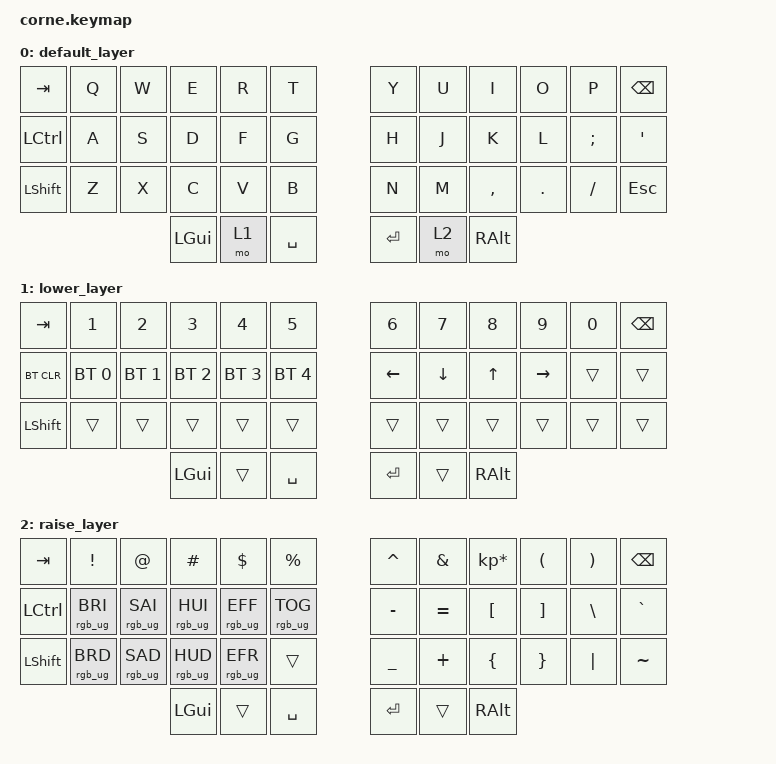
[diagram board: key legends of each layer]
/*
 * Copyright (c) 2020 The ZMK Contributors
 * bump
 * SPDX-License-Identifier: MIT
 */

#include <behaviors.dtsi>
#include <dt-bindings/zmk/keys.h>
#include <dt-bindings/zmk/bt.h>
#include <dt-bindings/zmk/rgb.h>

#include <dt-bindings/led/led.h>

&spi1 {
	compatible = "nordic,nrf-spim";
	/* Cannot be used together with i2c0. */
	status = "okay";
	mosi-pin = <6>;
	// Unused pins, needed for SPI definition, but not used by the ws2812 driver itself.
	sck-pin = <5>;
	miso-pin = <7>;

	led_strip: ws2812@0 {
		compatible = "worldsemi,ws2812-spi";
		label = "SK6812mini";

		/* SPI */
		reg = <0>; /* ignored, but necessary for SPI bindings */
		spi-max-frequency = <4000000>;

		/* WS2812 */
		chain-length = <27>; /* There are per-key RGB, but enable all */
		spi-one-frame = <0x70>;
		spi-zero-frame = <0x40>;

		color-mapping = <LED_COLOR_ID_GREEN LED_COLOR_ID_RED LED_COLOR_ID_BLUE>;
	};
};

/ {
	chosen {
		zmk,underglow = &led_strip;
	};
};

/ {
        keymap {
                compatible = "zmk,keymap";

                default_layer {
// -----------------------------------------------------------------------------------------
// |  TAB |  Q  |  W  |  E  |  R  |  T  |   |  Y  |  U   |  I  |  O  |  P  | BKSP |
// | CTRL |  A  |  S  |  D  |  F  |  G  |   |  H  |  J   |  K  |  L  |  ;  |  '   |
// | SHFT |  Z  |  X  |  C  |  V  |  B  |   |  N  |  M   |  ,  |  .  |  /  | ESC  |
//                    | GUI | LWR | SPC |   | ENT | RSE  | ALT |
                        bindings = <
   &kp TAB   &kp Q &kp W &kp E &kp R &kp T   &kp Y &kp U  &kp I     &kp O   &kp P    &kp BSPC
   &kp LCTRL &kp A &kp S &kp D &kp F &kp G   &kp H &kp J  &kp K     &kp L   &kp SEMI &kp SQT
   &kp LSHFT &kp Z &kp X &kp C &kp V &kp B   &kp N &kp M  &kp COMMA &kp DOT &kp FSLH &kp ESC
                  &kp LGUI &mo 1 &kp SPACE   &kp RET &mo 2 &kp RALT
                        >;
                };
                lower_layer {
// -----------------------------------------------------------------------------------------
// |  TAB |  1  |  2  |  3  |  4  |  5  |   |  6  |  7  |  8  |  9  |  0  | BKSP |
// | BTCLR| BT1 | BT2 | BT3 | BT4 | BT5 |   | LFT | DWN |  UP | RGT |     |      |
// | SHFT |     |     |     |     |     |   |     |     |     |     |     |      |
//                    | GUI |     | SPC |   | ENT |     | ALT |
                        bindings = <
   &kp TAB    &kp N1       &kp N2       &kp N3       &kp N4       &kp N5         &kp N6   &kp N7   &kp N8 &kp N9    &kp N0 &kp BSPC
   &bt BT_CLR &bt BT_SEL 0 &bt BT_SEL 1 &bt BT_SEL 2 &bt BT_SEL 3 &bt BT_SEL 4   &kp LEFT &kp DOWN &kp UP &kp RIGHT &trans &trans
   &kp LSHFT  &trans       &trans       &trans       &trans       &trans         &trans   &trans   &trans &trans    &trans &trans
                          	        &kp LGUI     &trans       &kp SPACE      &kp RET  &trans   &kp RALT
                        >;
                };

                raise_layer {
// -----------------------------------------------------------------------------------------
// |  TAB |  !   |  @   |  #   |  $   |  %      |   |  ^  |  &  |  *  |  (  |  )  | BKSP |
// | CTRL | BRI+ | SAT+ | HUE+ | EFF+ | RGB TOG |   |  -  |  =  |  [  |  ]  |  \  |  `   |
// | SHFT | BRI- | SAT- | HUE- | EFF- |         |   |  _  |  +  |  {  |  }  | "|" |  ~   |
//                      | GUI  |      | SPC     |   | ENT |     | ALT |
                        bindings = <
   &kp  TAB  &kp EXCL        &kp AT          &kp HASH        &kp DLLR        &kp PRCNT            &kp CARET &kp AMPS  &kp KP_MULTIPLY &kp LPAR &kp RPAR &kp BSPC
   &kp LCTRL &rgb_ug RGB_BRI &rgb_ug RGB_SAI &rgb_ug RGB_HUI &rgb_ug RGB_EFF &rgb_ug RGB_TOG      &kp MINUS &kp EQUAL &kp LBKT        &kp RBKT &kp BSLH &kp GRAVE
   &kp LSHFT &rgb_ug RGB_BRD &rgb_ug RGB_SAD &rgb_ug RGB_HUD &rgb_ug RGB_EFR &trans               &kp UNDER &kp PLUS  &kp LBRC        &kp RBRC &kp PIPE &kp TILDE
                    	                     &kp LGUI        &trans          &kp SPACE            &kp RET   &trans    &kp RALT
                        >;
                };
        };
};
